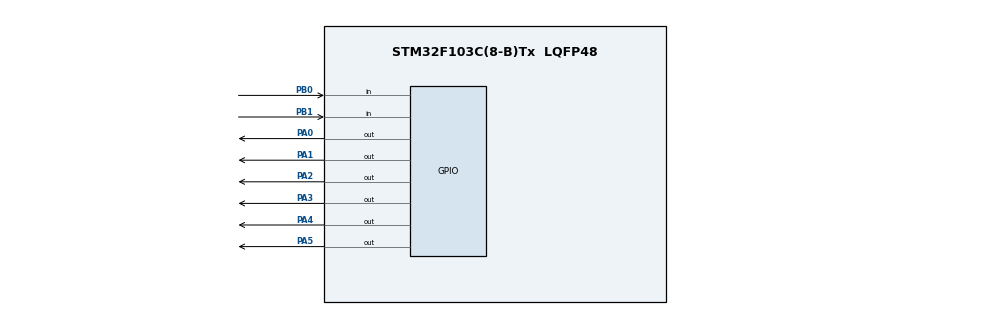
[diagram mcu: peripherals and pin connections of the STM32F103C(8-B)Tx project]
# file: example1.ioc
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Mcu.Family=STM32F1
Mcu.Name=STM32F103C(8-B)Tx
Mcu.Package=LQFP48
NVIC.PriorityGroup=NVIC_PRIORITYGROUP_4
PA0-WKUP.Signal=GPIO_Output
PA1.Signal=GPIO_Output
PA13.Mode=Serial_Wire
PA13.Signal=SYS_JTMS-SWDIO
PA14.Mode=Serial_Wire
PA14.Signal=SYS_JTCK-SWCLK
PA2.Signal=GPIO_Output
PA3.Signal=GPIO_Output
PA4.Signal=GPIO_Output
PA5.Signal=GPIO_Output
PB0.GPIO_PuPd=GPIO_PULLDOWN
PB0.Signal=GPIO_Input
PB1.GPIO_PuPd=GPIO_PULLDOWN
PB1.Signal=GPIO_Input
ProjectManager.HeapSize=0x200
ProjectManager.StackSize=0x400
ProjectManager.TargetToolchain=STM32CubeIDE
RCC.APB1Freq_Value=8000000
RCC.APB2Freq_Value=8000000
board=custom

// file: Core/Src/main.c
/* USER CODE BEGIN Header */
/**
  ******************************************************************************
  * @file           : main.c
  * @brief          : Main program body
  ******************************************************************************
  * @attention
  *
  * Copyright (c) 2023 STMicroelectronics.
  * All rights reserved.
  *
  * This software is licensed under terms that can be found in the LICENSE file
  * in the root directory of this software component.
  * If no LICENSE file comes with this software, it is provided AS-IS.
  *
  ******************************************************************************
  */
/* USER CODE END Header */
#include "main.h"

/* USER CODE BEGIN PTD */
	struct State{
		uint32_t Out;
		uint32_t Time;
		uint32_t Next[4];
	};
	typedef const struct State State_t;

/* USER CODE END PTD */

/* USER CODE BEGIN PD */
#define goN 	0
#define waitN 	1
#define goE 	2
#define waitE 	3
/* USER CODE END PD */

/* USER CODE BEGIN PV */
	State_t FSM[4] = {
	    {0x21, 3000, {goN, waitN, goN, waitN}},
	    {0x22, 500, {goE, goE, goE, goE}},
	    {0x0C, 3000, {goE, goE, waitE, waitE}},
	    {0x14, 500, {goN, goN, goN, goN}}
	};
	uint32_t S;  // index to the current state
	uint32_t Input;
/* USER CODE END PV */

void SystemClock_Config(void);
static void MX_GPIO_Init(void);

int main(void)
{

  /* MCU Configuration--------------------------------------------------------*/

  /* Reset of all peripherals, Initializes the Flash interface and the Systick. */
  HAL_Init();

  /* Configure the system clock */
  SystemClock_Config();

  /* Initialize all configured peripherals */
  MX_GPIO_Init();
  /* USER CODE BEGIN 2 */
  S = goN;
  /* USER CODE END 2 */

  /* Infinite loop */
  while (1)
  {

	  HAL_GPIO_WritePin(GPIOA, GPIO_PIN_0|GPIO_PIN_1|GPIO_PIN_2|GPIO_PIN_3
	                            |GPIO_PIN_4|GPIO_PIN_5, (GPIO_PinState)((FSM[S].Out >> 5) & 0x01));

	  HAL_Delay(Delay)(FSM[S].Time);

	  Input = HAL_GPIO_ReadPin(GPIOB, GPIO_PIN_0) | (HAL_GPIO_ReadPin(GPIOB, GPIO_PIN_1) << 1);

	  S = FSM[S].Next[Input];

  }
}

void SystemClock_Config(void)
{
  RCC_OscInitTypeDef RCC_OscInitStruct = {0};
  RCC_ClkInitTypeDef RCC_ClkInitStruct = {0};

  /** Initializes the RCC Oscillators according to the specified parameters
  * in the RCC_OscInitTypeDef structure.
  */
  RCC_OscInitStruct.OscillatorType = RCC_OSCILLATORTYPE_HSI;
  RCC_OscInitStruct.HSIState = RCC_HSI_ON;
  RCC_OscInitStruct.HSICalibrationValue = RCC_HSICALIBRATION_DEFAULT;
  RCC_OscInitStruct.PLL.PLLState = RCC_PLL_NONE;
  if (HAL_RCC_OscConfig(&RCC_OscInitStruct) != HAL_OK)
  {
    Error_Handler();
  }

  /** Initializes the CPU, AHB and APB buses clocks
  */
  RCC_ClkInitStruct.ClockType = RCC_CLOCKTYPE_HCLK|RCC_CLOCKTYPE_SYSCLK
                              |RCC_CLOCKTYPE_PCLK1|RCC_CLOCKTYPE_PCLK2;
  RCC_ClkInitStruct.SYSCLKSource = RCC_SYSCLKSOURCE_HSI;
  RCC_ClkInitStruct.AHBCLKDivider = RCC_SYSCLK_DIV1;
  RCC_ClkInitStruct.APB1CLKDivider = RCC_HCLK_DIV1;
  RCC_ClkInitStruct.APB2CLKDivider = RCC_HCLK_DIV1;

  if (HAL_RCC_ClockConfig(&RCC_ClkInitStruct, FLASH_LATENCY_0) != HAL_OK)
  {
    Error_Handler();
  }
}

static void MX_GPIO_Init(void)
{
  GPIO_InitTypeDef GPIO_InitStruct = {0};

  /* GPIO Ports Clock Enable */
  __HAL_RCC_GPIOA_CLK_ENABLE();
  __HAL_RCC_GPIOB_CLK_ENABLE();

  /*Configure GPIO pin Output Level */
  HAL_GPIO_WritePin(GPIOA, GPIO_PIN_0|GPIO_PIN_1|GPIO_PIN_2|GPIO_PIN_3
                          |GPIO_PIN_4|GPIO_PIN_5, GPIO_PIN_RESET);

  /*Configure GPIO pins : PA0 PA1 PA2 PA3
                           PA4 PA5 */
  GPIO_InitStruct.Pin = GPIO_PIN_0|GPIO_PIN_1|GPIO_PIN_2|GPIO_PIN_3
                          |GPIO_PIN_4|GPIO_PIN_5;
  GPIO_InitStruct.Mode = GPIO_MODE_OUTPUT_PP;
  GPIO_InitStruct.Pull = GPIO_NOPULL;
  GPIO_InitStruct.Speed = GPIO_SPEED_FREQ_LOW;
  HAL_GPIO_Init(GPIOA, &GPIO_InitStruct);

  /*Configure GPIO pins : PB0 PB1 */
  GPIO_InitStruct.Pin = GPIO_PIN_0|GPIO_PIN_1;
  GPIO_InitStruct.Mode = GPIO_MODE_INPUT;
  GPIO_InitStruct.Pull = GPIO_PULLDOWN;
  HAL_GPIO_Init(GPIOB, &GPIO_InitStruct);

}

void Error_Handler(void)
{
  __disable_irq();
  while (1)
  {
  }
}
